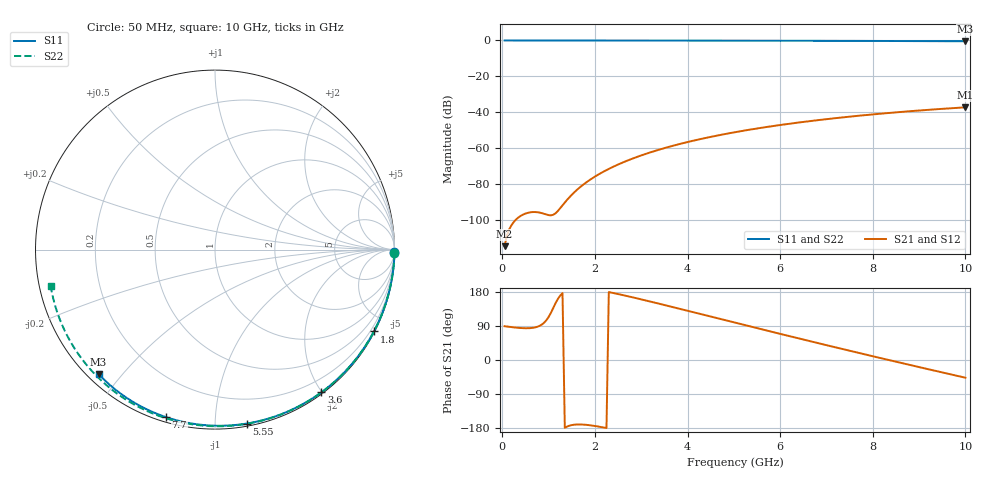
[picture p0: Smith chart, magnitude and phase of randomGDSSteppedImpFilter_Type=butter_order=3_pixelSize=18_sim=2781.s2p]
! freq	dB(S11)	phase(S11)	dB(S12)	phase(S12)
!  dB(S21)	phase(S21)	dB(S22)	phase(S22)
!S-par simulation data
#  GHz  S  DB  R 50
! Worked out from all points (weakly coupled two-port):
!   200 points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, 50 MHz to 10 GHz, reference 50 ohm
!   highest |S21| = -37.31 dB at 10 GHz (marker M1); lowest = -114.8 dB at 50 MHz (marker M2)
!   lowest |S11| = -0.5 dB at 10 GHz (marker M3), VSWR 38.55, Z = 1.54 - j21.7 ohm
!   |S11| at or under -10 dB: nowhere
!   |S22| runs from -0.6 to 0.0 dB; largest |S21 - S12| = 0
!   S11 on the Smith chart (normalised r, x): 50 MHz: open; 1.8 GHz: 0.04, -4.12; 3.6 GHz: 0.02, -1.99; 5.55 GHz: 0.02, -1.20; 7.7 GHz: 0.02, -0.75; 10 GHz: 0.03, -0.43
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0.05  -0.00 -0.8  -114.77 89.2  -114.77 89.2  -0.00 -1.0
0.45  -0.01 -6.9  -97.13 84.0  -97.13 84.0  -0.01 -8.7
0.85  -0.02 -13.0  -96.31 93.2  -96.31 93.2  -0.02 -16.4
1.3  -0.02 -19.8  -92.01 176.4  -92.01 176.4  -0.03 -24.9
1.75  -0.03 -26.5  -80.39 -170.5  -80.39 -170.5  -0.04 -33.4
1.8  -0.03 -27.3  -79.42 -170.9  -79.42 -170.9  -0.04 -34.3
1.95  -0.04 -29.5  -76.77 -173.1  -76.77 -173.1  -0.05 -37.1
2.1  -0.04 -31.7  -74.42 -176.1  -74.42 -176.1  -0.05 -39.8
2.3  -0.04 -34.6  -71.66 179.3  -71.66 179.3  -0.06 -43.5
2.5  -0.05 -37.6  -69.22 174.1  -69.22 174.1  -0.06 -47.1
2.9  -0.06 -43.4  -65.06 162.9  -65.06 162.9  -0.07 -54.3
3.4  -0.07 -50.5  -60.82 148.2  -60.82 148.2  -0.08 -63.2
3.6  -0.07 -53.3  -59.34 142.1  -59.34 142.1  -0.09 -66.6
4.3  -0.09 -63.0  -54.90 120.8  -54.90 120.8  -0.11 -78.6
5.05  -0.11 -73.1  -51.07 97.8  -51.07 97.8  -0.14 -90.9
5.55  -0.13 -79.6  -48.91 82.6  -48.91 82.6  -0.16 -99.0
6.1  -0.15 -86.6  -46.82 66.0  -46.82 66.0  -0.19 -107.6
6.7  -0.18 -94.2  -44.81 48.0  -44.81 48.0  -0.23 -116.9
7.7  -0.24 -106.3  -41.99 18.6  -41.99 18.6  -0.30 -132.1
8.35  -0.29 -114.0  -40.44 -0.2  -40.44 -0.2  -0.36 -142.0
9.2  -0.37 -123.9  -38.70 -24.4  -38.70 -24.4  -0.46 -155.0
10  -0.45 -133.1  -37.31 -46.8  -37.31 -46.8  -0.56 -167.5
